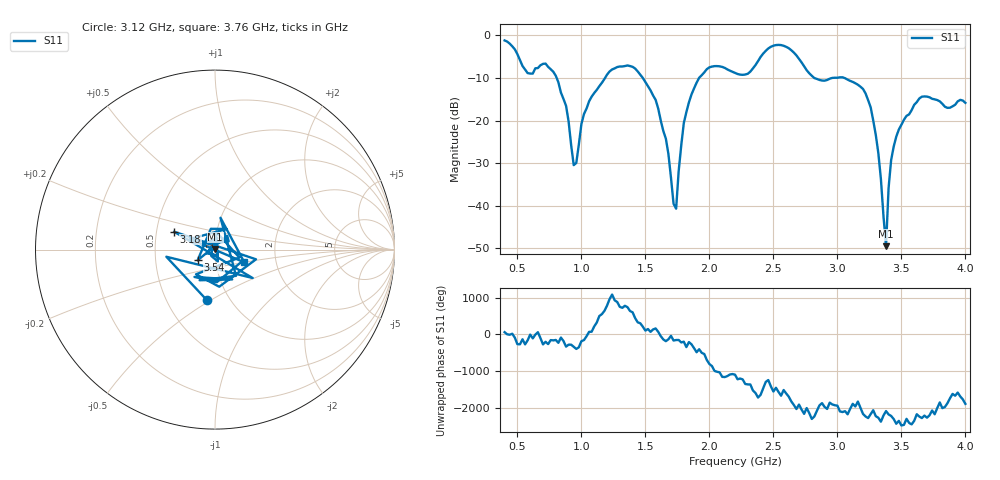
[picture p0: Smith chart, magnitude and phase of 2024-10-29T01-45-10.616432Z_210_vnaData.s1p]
!Created with skrf (http://scikit-rf.org).
# Hz S RI R 50.0
!freq ReS11 ImS11
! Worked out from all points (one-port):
!   181 points, 400 MHz to 4 GHz, reference 50 ohm
!   lowest |S11| = -49.5 dB at 3.38 GHz (marker M1), VSWR 1.01, Z = 50.2 + j0.301 ohm
!   |S11| at or under -10 dB: 806.6 MHz to 1.185 GHz (378.1 MHz wide, 38 % of centre); 1.48 GHz to 1.919 GHz (439.4 MHz wide, 25.9 % of centre); 3.054 GHz to end of sweep (the widest 3 of 4)
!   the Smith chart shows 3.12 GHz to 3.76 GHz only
!   S11 on the Smith chart (normalised r, x): 3.12 GHz: 0.78, -0.48; 3.18 GHz: 0.62, +0.13; 3.54 GHz: 0.82, -0.10; 3.76 GHz: 1.37, -0.20
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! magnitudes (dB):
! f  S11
! 400 MHz  -1.2
! 580 MHz  -8.9
! 720 MHz  -6.6
! 860 MHz  -14.9
! 940 MHz  -30.5
! 1.06 GHz  -15.5
! 1.3 GHz  -7.3
! 1.58 GHz  -15.1
! 1.66 GHz  -24.3
! 1.74 GHz  -40.7
! 1.76 GHz  -31.8
! 1.8 GHz  -20.6
! 1.92 GHz  -10.0
! 2.2 GHz  -8.8
! 2.5 GHz  -2.4
! 2.66 GHz  -4.0
! 2.82 GHz  -10.0
! 3.1 GHz  -10.7
! 3.12 GHz  -10.9
! 3.18 GHz  -12.1
! 3.3 GHz  -23.4
! 3.38 GHz  -49.5
! 3.4 GHz  -35.8
! 3.42 GHz  -29.3
! 3.54 GHz  -18.9
! 3.56 GHz  -18.6
! 3.76 GHz  -15.0
! 4 GHz  -15.8
